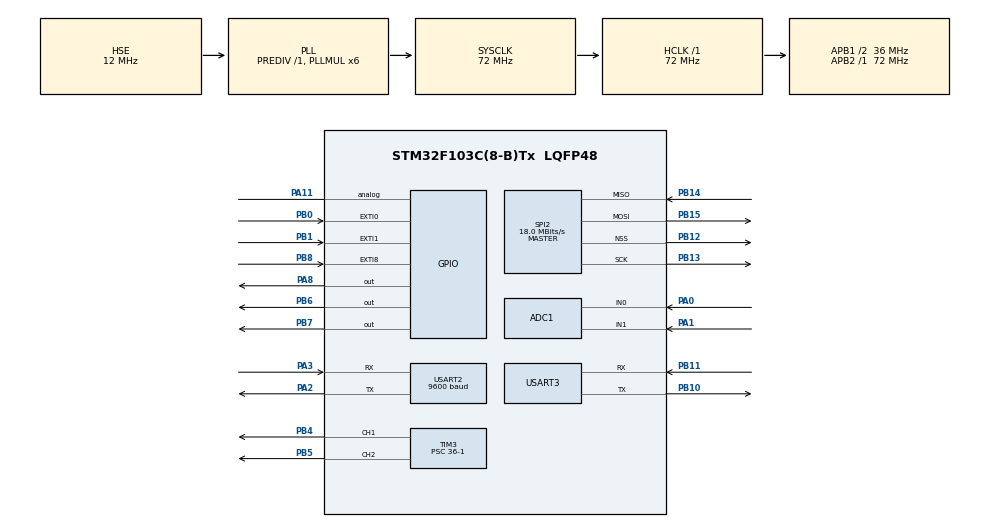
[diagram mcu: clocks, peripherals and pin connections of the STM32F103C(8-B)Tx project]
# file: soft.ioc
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ADC1.Channel-0\#ChannelRegularConversion=ADC_CHANNEL_0
ADC1.Channel-1\#ChannelRegularConversion=ADC_CHANNEL_1
ADC1.ContinuousConvMode=ENABLE
ADC1.NbrOfConversion=2
ADC1.NbrOfConversionFlag=1
ADC1.Rank-0\#ChannelRegularConversion=1
ADC1.Rank-1\#ChannelRegularConversion=2
ADC1.SamplingTime-0\#ChannelRegularConversion=ADC_SAMPLETIME_1CYCLE_5
ADC1.SamplingTime-1\#ChannelRegularConversion=ADC_SAMPLETIME_1CYCLE_5
ADC1.master=1
Dma.ADC1.0.Direction=DMA_PERIPH_TO_MEMORY
Dma.ADC1.0.Instance=DMA1_Channel1
Dma.ADC1.0.MemDataAlignment=DMA_MDATAALIGN_HALFWORD
Dma.ADC1.0.MemInc=DMA_MINC_ENABLE
Dma.ADC1.0.Mode=DMA_CIRCULAR
Dma.ADC1.0.PeriphDataAlignment=DMA_PDATAALIGN_HALFWORD
Dma.ADC1.0.PeriphInc=DMA_PINC_DISABLE
Dma.ADC1.0.Priority=DMA_PRIORITY_MEDIUM
Dma.Request0=ADC1
Dma.Request1=USART2_RX
Dma.Request2=SPI2_RX
Dma.Request3=USART3_TX
Dma.Request4=USART3_RX
Dma.SPI2_RX.2.Direction=DMA_PERIPH_TO_MEMORY
Dma.SPI2_RX.2.Instance=DMA1_Channel4
Dma.SPI2_RX.2.MemDataAlignment=DMA_MDATAALIGN_BYTE
Dma.SPI2_RX.2.MemInc=DMA_MINC_ENABLE
Dma.SPI2_RX.2.Mode=DMA_NORMAL
Dma.SPI2_RX.2.PeriphDataAlignment=DMA_PDATAALIGN_BYTE
Dma.SPI2_RX.2.PeriphInc=DMA_PINC_DISABLE
Dma.SPI2_RX.2.Priority=DMA_PRIORITY_MEDIUM
Dma.USART2_RX.1.Direction=DMA_PERIPH_TO_MEMORY
Dma.USART2_RX.1.Instance=DMA1_Channel6
Dma.USART2_RX.1.MemDataAlignment=DMA_MDATAALIGN_BYTE
Dma.USART2_RX.1.MemInc=DMA_MINC_ENABLE
Dma.USART2_RX.1.Mode=DMA_CIRCULAR
Dma.USART2_RX.1.PeriphDataAlignment=DMA_PDATAALIGN_BYTE
Dma.USART2_RX.1.PeriphInc=DMA_PINC_DISABLE
Dma.USART2_RX.1.Priority=DMA_PRIORITY_LOW
Dma.USART3_RX.4.Direction=DMA_PERIPH_TO_MEMORY
Dma.USART3_RX.4.Instance=DMA1_Channel3
Dma.USART3_RX.4.MemDataAlignment=DMA_MDATAALIGN_BYTE
Dma.USART3_RX.4.MemInc=DMA_MINC_ENABLE
Dma.USART3_RX.4.Mode=DMA_NORMAL
Dma.USART3_RX.4.PeriphDataAlignment=DMA_PDATAALIGN_BYTE
Dma.USART3_RX.4.PeriphInc=DMA_PINC_DISABLE
Dma.USART3_RX.4.Priority=DMA_PRIORITY_MEDIUM
Dma.USART3_TX.3.Direction=DMA_MEMORY_TO_PERIPH
Dma.USART3_TX.3.Instance=DMA1_Channel2
Dma.USART3_TX.3.MemDataAlignment=DMA_MDATAALIGN_BYTE
Dma.USART3_TX.3.MemInc=DMA_MINC_ENABLE
Dma.USART3_TX.3.Mode=DMA_NORMAL
Dma.USART3_TX.3.PeriphDataAlignment=DMA_PDATAALIGN_BYTE
Dma.USART3_TX.3.PeriphInc=DMA_PINC_DISABLE
Dma.USART3_TX.3.Priority=DMA_PRIORITY_MEDIUM
IWDG.Prescaler=IWDG_PRESCALER_32
IWDG.Reload=4000
Mcu.Family=STM32F1
Mcu.Name=STM32F103C(8-B)Tx
Mcu.Package=LQFP48
NVIC.ADC1_2_IRQn=true\:0\:0\:false\:false\:true\:true
NVIC.DMA1_Channel1_IRQn=true\:3\:0\:true\:false\:true\:true
NVIC.DMA1_Channel2_IRQn=true\:0\:0\:false\:false\:true\:false
NVIC.DMA1_Channel3_IRQn=true\:0\:0\:false\:false\:true\:false
NVIC.DMA1_Channel4_IRQn=true\:0\:0\:false\:false\:true\:false
NVIC.DMA1_Channel6_IRQn=true\:0\:0\:false\:false\:true\:true
NVIC.EXTI9_5_IRQn=true\:0\:0\:false\:false\:true\:true
NVIC.PriorityGroup=NVIC_PRIORITYGROUP_4
NVIC.SPI2_IRQn=true\:1\:0\:true\:false\:true\:true
NVIC.USART3_IRQn=true\:2\:0\:true\:false\:true\:true
PA0-WKUP.Signal=ADCx_IN0
PA1.Signal=ADCx_IN1
PA10.Signal=USART1_RX
PA11.Signal=GPIO_Analog
PA13.Mode=Serial_Wire
PA13.Signal=SYS_JTMS-SWDIO
PA14.Mode=Serial_Wire
PA14.Signal=SYS_JTCK-SWCLK
PA2.Mode=Asynchronous
PA2.Signal=USART2_TX
PA3.Mode=Asynchronous
PA3.Signal=USART2_RX
PA4.Signal=ADCx_IN4
PA5.Signal=ADCx_IN5
PA6.Signal=ADCx_IN6
PA8.Signal=GPIO_Output
PA9.Signal=USART1_TX
PB0.Signal=GPXTI0
PB1.Signal=GPXTI1
PB10.Mode=Asynchronous
PB10.Signal=USART3_TX
PB11.Mode=Asynchronous
PB11.Signal=USART3_RX
PB12.Mode=NSS_Signal_Hard_Output
PB12.Signal=SPI2_NSS
PB13.Mode=Full_Duplex_Master
PB13.Signal=SPI2_SCK
PB14.Mode=Full_Duplex_Master
PB14.Signal=SPI2_MISO
PB15.Mode=Full_Duplex_Master
PB15.Signal=SPI2_MOSI
PB4.Signal=S_TIM3_CH1
PB5.Signal=S_TIM3_CH2
PB6.Signal=GPIO_Output
PB7.Signal=GPIO_Output
PB8.GPIO_ModeDefaultEXTI=GPIO_MODE_IT_FALLING
PB8.Signal=GPXTI8
PC14-OSC32_IN.Mode=LSE-External-Oscillator
PC14-OSC32_IN.Signal=RCC_OSC32_IN
PC15-OSC32_OUT.Mode=LSE-External-Oscillator
PC15-OSC32_OUT.Signal=RCC_OSC32_OUT
PD0-OSC_IN.Mode=HSE-External-Oscillator
PD0-OSC_IN.Signal=RCC_OSC_IN
PD1-OSC_OUT.Mode=HSE-External-Oscillator
PD1-OSC_OUT.Signal=RCC_OSC_OUT
ProjectManager.HeapSize=0x200
ProjectManager.StackSize=0x400
ProjectManager.TargetToolchain=MDK-ARM V5
RCC.ADCPresc=RCC_ADCPCLK2_DIV6
RCC.AHBFreq_Value=72000000
RCC.APB1CLKDivider=RCC_HCLK_DIV2
RCC.APB1Freq_Value=36000000
RCC.APB1TimFreq_Value=72000000
RCC.APB2Freq_Value=72000000
RCC.APB2TimFreq_Value=72000000
RCC.HCLKFreq_Value=72000000
RCC.HSE_VALUE=12000000
RCC.PLLMUL=RCC_PLL_MUL6
RCC.PLLSourceVirtual=RCC_PLLSOURCE_HSE
RCC.SYSCLKFreq_VALUE=72000000
RCC.SYSCLKSource=RCC_SYSCLKSOURCE_PLLCLK
RCC.USBFreq_Value=72000000
SH.ADCx_IN0.0=ADC1_IN0,IN0
SH.ADCx_IN1.0=ADC1_IN1,IN1
SH.ADCx_IN4.0=ADC1_IN4
SH.ADCx_IN5.0=ADC1_IN5
SH.ADCx_IN6.0=ADC1_IN6
SH.S_TIM3_CH1.0=TIM3_CH1,PWM Generation1 CH1
SH.S_TIM3_CH2.0=TIM3_CH2,PWM Generation2 CH2
SPI2.CalculateBaudRate=18.0 MBits/s
SPI2.Direction=SPI_DIRECTION_2LINES
SPI2.Mode=SPI_MODE_MASTER
SPI2.VirtualNSS=VM_NSSHARD
SPI2.VirtualType=VM_MASTER
TIM3.Channel-PWM\ Generation1\ CH1=TIM_CHANNEL_1
TIM3.Channel-PWM\ Generation2\ CH2=TIM_CHANNEL_2
TIM3.Period=256-1
TIM3.Prescaler=36-1
USART2.BaudRate=9600
USART2.VirtualMode=VM_ASYNC
USART3.VirtualMode=VM_ASYNC
VP_IWDG_VS_IWDG.Mode=IWDG_Activate
board=LEDLORA

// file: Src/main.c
/**
  ******************************************************************************
  * File Name          : main.c
  * Description        : Main program body
  ******************************************************************************
  *
  * COPYRIGHT(c) 2019 STMicroelectronics
  *
  * Redistribution and use in source and binary forms, with or without modification,
  * are permitted provided that the following conditions are met:
  *   1. Redistributions of source code must retain the above copyright notice,
  *      this list of conditions and the following disclaimer.
  *   2. Redistributions in binary form must reproduce the above copyright notice,
  *      this list of conditions and the following disclaimer in the documentation
  *      and/or other materials provided with the distribution.
  *   3. Neither the name of STMicroelectronics nor the names of its contributors
  *      may be used to endorse or promote products derived from this software
  *      without specific prior written permission.
  *
  * THIS SOFTWARE IS PROVIDED BY THE COPYRIGHT HOLDERS AND CONTRIBUTORS "AS IS"
  * AND ANY EXPRESS OR IMPLIED WARRANTIES, INCLUDING, BUT NOT LIMITED TO, THE
  * IMPLIED WARRANTIES OF MERCHANTABILITY AND FITNESS FOR A PARTICULAR PURPOSE ARE
  * DISCLAIMED. IN NO EVENT SHALL THE COPYRIGHT HOLDER OR CONTRIBUTORS BE LIABLE
  * FOR ANY DIRECT, INDIRECT, INCIDENTAL, SPECIAL, EXEMPLARY, OR CONSEQUENTIAL
  * DAMAGES (INCLUDING, BUT NOT LIMITED TO, PROCUREMENT OF SUBSTITUTE GOODS OR
  * SERVICES; LOSS OF USE, DATA, OR PROFITS; OR BUSINESS INTERRUPTION) HOWEVER
  * CAUSED AND ON ANY THEORY OF LIABILITY, WHETHER IN CONTRACT, STRICT LIABILITY,
  * OR TORT (INCLUDING NEGLIGENCE OR OTHERWISE) ARISING IN ANY WAY OUT OF THE USE
  * OF THIS SOFTWARE, EVEN IF ADVISED OF THE POSSIBILITY OF SUCH DAMAGE.
  *
  ******************************************************************************
  */
#include "stm32f1xx_hal.h"
#include "adc.h"
#include "dma.h"
#include "iwdg.h"
#include "spi.h"
#include "tim.h"
#include "usart.h"
#include "gpio.h"

/* USER CODE BEGIN Includes */
#include "ads1299.h"
/* USER CODE END Includes */

/* USER CODE BEGIN PV */
/* Private variables ---------------------------------------------------------*/

extern SPI_HandleTypeDef hspi2;

#define BUFFER_SIZE 50
uint8_t flag_wifi=0;
uint16_t len_wifi;
extern uint8_t wifi_rx_data[BUFFER_SIZE];
uint8_t wifi_buf[BUFFER_SIZE];
uint8_t Spi_TxData0[28]={0x12,0,0,0,0,0,0,0,0,0,0,0,0,0,0,0,0,0,0,0,0,0,0,0,0,0,0,0}; //发送地址

//#define BUFFER_SIZE 50

/* USER CODE END PV */

void SystemClock_Config(void);

/* USER CODE BEGIN PFP */
/* Private function prototypes -----------------------------------------------*/

/* USER CODE END PFP */

int main(void)
{

  /* MCU Configuration----------------------------------------------------------*/

  /* Reset of all peripherals, Initializes the Flash interface and the Systick. */
  HAL_Init();

  /* Configure the system clock */
  SystemClock_Config();

  /* Initialize all configured peripherals */
  MX_GPIO_Init();
  MX_DMA_Init();
  MX_ADC1_Init();
  MX_USART2_UART_Init();
  MX_USART3_UART_Init();
  SystemClock_Config();
  //MX_IWDG_Init();
  MX_TIM3_Init();
  MX_SPI2_Init();

  /* USER CODE BEGIN 2 */

	ADS1299_Init();
	HAL_Delay(1000);
	HAL_UART_Receive_DMA(&huart3,wifi_rx_data,BUFFER_SIZE);//打开DMA接收，数据存入rx_buffer数组中。
	HAL_Delay(200);
	//HAL_SPI_TransmitReceive_DMA(&hspi2,Spi_TxData0,wifi_buf,28);

	ADS1299_IT();
  /* USER CODE END 2 */

  /* Infinite loop */
  while (1)
  {

  /* USER CODE BEGIN 3 */
	 // HAL_GPIO_WritePin(GPIOB,GPIO_PIN_12,1);
	//HAL_Delay(1000);
	   //HAL_GPIO_WritePin(GPIOB,GPIO_PIN_12,0);
	  HAL_Delay(1000);
	  if(flag_wifi==1)
	  {
		  HAL_UART_Transmit(&huart3,wifi_buf,len_wifi,1000);
		  flag_wifi=0;
	  }

  }
  /* USER CODE END 3 */

}

/** System Clock Configuration
*/
void SystemClock_Config(void)
{

  RCC_OscInitTypeDef RCC_OscInitStruct;
  RCC_ClkInitTypeDef RCC_ClkInitStruct;
  RCC_PeriphCLKInitTypeDef PeriphClkInit;

  RCC_OscInitStruct.OscillatorType = RCC_OSCILLATORTYPE_LSI|RCC_OSCILLATORTYPE_HSE;
  RCC_OscInitStruct.HSEState = RCC_HSE_ON;
  RCC_OscInitStruct.HSEPredivValue = RCC_HSE_PREDIV_DIV1;
  RCC_OscInitStruct.HSIState = RCC_HSI_ON;
  RCC_OscInitStruct.LSIState = RCC_LSI_ON;
  RCC_OscInitStruct.PLL.PLLState = RCC_PLL_ON;
  RCC_OscInitStruct.PLL.PLLSource = RCC_PLLSOURCE_HSE;
  RCC_OscInitStruct.PLL.PLLMUL = RCC_PLL_MUL6;
  HAL_RCC_OscConfig(&RCC_OscInitStruct);

  RCC_ClkInitStruct.ClockType = RCC_CLOCKTYPE_HCLK|RCC_CLOCKTYPE_SYSCLK
                              |RCC_CLOCKTYPE_PCLK1|RCC_CLOCKTYPE_PCLK2;
  RCC_ClkInitStruct.SYSCLKSource = RCC_SYSCLKSOURCE_PLLCLK;
  RCC_ClkInitStruct.AHBCLKDivider = RCC_SYSCLK_DIV1;
  RCC_ClkInitStruct.APB1CLKDivider = RCC_HCLK_DIV2;
  RCC_ClkInitStruct.APB2CLKDivider = RCC_HCLK_DIV1;
  HAL_RCC_ClockConfig(&RCC_ClkInitStruct, FLASH_LATENCY_2);

  PeriphClkInit.PeriphClockSelection = RCC_PERIPHCLK_ADC;
  PeriphClkInit.AdcClockSelection = RCC_ADCPCLK2_DIV6;
  HAL_RCCEx_PeriphCLKConfig(&PeriphClkInit);

  HAL_SYSTICK_Config(HAL_RCC_GetHCLKFreq()/1000);

  HAL_SYSTICK_CLKSourceConfig(SYSTICK_CLKSOURCE_HCLK);

  /* SysTick_IRQn interrupt configuration */
  HAL_NVIC_SetPriority(SysTick_IRQn, 0, 0);
}

/* USER CODE BEGIN 4 */
void HAL_SPI_TxRxCpltCallback(SPI_HandleTypeDef *hspi)
{
  /* Turn LED2 on: Transfer in transmission/reception process is complete */
  //BSP_LED_On(LED2);
  //wTransferState = TRANSFER_COMPLETE;
	flag_wifi=1;
	len_wifi=28;
}

void HAL_GPIO_EXTI_Callback(uint16_t GPIO_Pin)
{
	HAL_SPI_TransmitReceive_DMA(&hspi2,Spi_TxData0,wifi_buf,28);

}
/* USER CODE END 4 */

/************************ (C) COPYRIGHT STMicroelectronics *****END OF FILE****/
